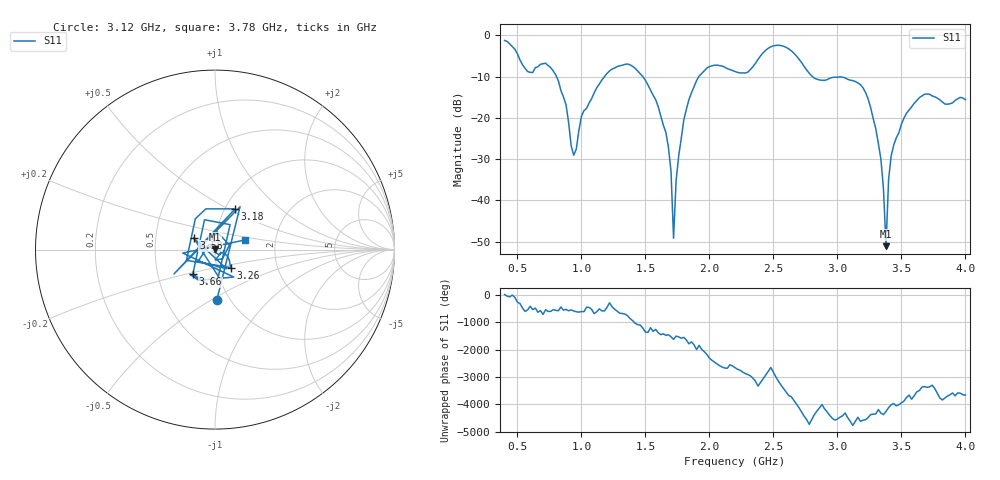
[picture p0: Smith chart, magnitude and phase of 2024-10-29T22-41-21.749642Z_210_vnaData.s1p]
!Created with skrf (http://scikit-rf.org).
# Hz S RI R 50.0
!freq ReS11 ImS11
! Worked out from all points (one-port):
!   181 points, 400 MHz to 4 GHz, reference 50 ohm
!   lowest |S11| = -51.1 dB at 3.38 GHz (marker M1), VSWR 1.01, Z = 50.1 + j0.258 ohm
!   |S11| at or under -10 dB: 805.9 MHz to 1.179 GHz (373.1 MHz wide, 37.6 % of centre); 1.481 GHz to 1.917 GHz (436.1 MHz wide, 25.7 % of centre); 2.806 GHz to end of sweep
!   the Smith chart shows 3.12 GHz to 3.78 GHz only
!   S11 on the Smith chart (normalised r, x): 3.12 GHz: 0.87, -0.53; 3.18 GHz: 1.11, +0.54; 3.26 GHz: 1.17, -0.24; 3.58 GHz: 0.78, +0.10; 3.66 GHz: 0.75, -0.21; 3.78 GHz: 1.39, +0.15
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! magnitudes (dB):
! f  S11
! 400 MHz  -1.2
! 580 MHz  -8.7
! 760 MHz  -7.8
! 860 MHz  -14.9
! 940 MHz  -29.0
! 1.02 GHz  -18.2
! 1.3 GHz  -7.3
! 1.6 GHz  -17.3
! 1.68 GHz  -27.2
! 1.7 GHz  -32.9
! 1.72 GHz  -49.2
! 1.76 GHz  -29.2
! 1.92 GHz  -9.8
! 2.2 GHz  -8.7
! 2.66 GHz  -4.3
! 3.1 GHz  -10.8
! 3.12 GHz  -10.9
! 3.18 GHz  -11.9
! 3.26 GHz  -17.5
! 3.34 GHz  -30.0
! 3.38 GHz  -51.1
! 3.4 GHz  -34.9
! 3.42 GHz  -29.2
! 3.56 GHz  -18.1
! 3.58 GHz  -17.3
! 3.66 GHz  -14.7
! 3.78 GHz  -15.2
! 4 GHz  -15.6
